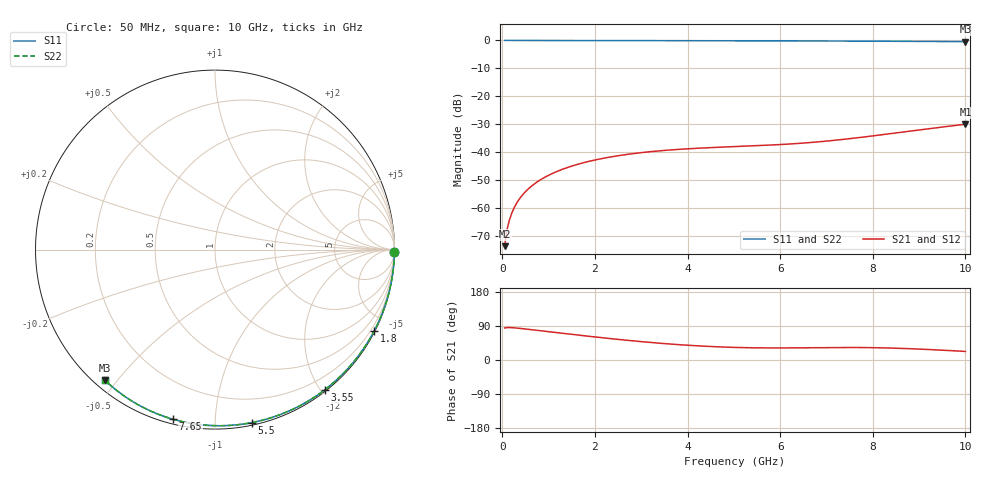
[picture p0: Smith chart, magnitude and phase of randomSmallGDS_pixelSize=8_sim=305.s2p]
! freq	dB(S11)	phase(S11)	dB(S12)	phase(S12)
!  dB(S21)	phase(S21)	dB(S22)	phase(S22)
!S-par simulation data
#  GHz  S  DB  R 50
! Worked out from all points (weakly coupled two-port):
!   200 points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, 50 MHz to 10 GHz, reference 50 ohm
!   highest |S21| = -30.00 dB at 10 GHz (marker M1); lowest = -73.7 dB at 50 MHz (marker M2)
!   lowest |S11| = -0.4 dB at 10 GHz (marker M3), VSWR 40.34, Z = 1.51 - j23.2 ohm
!   |S11| at or under -10 dB: nowhere
!   |S22| runs from -0.4 to 0.0 dB; largest |S21 - S12| = 0
!   S11 on the Smith chart (normalised r, x): 50 MHz: open; 1.8 GHz: 0.04, -4.17; 3.55 GHz: 0.02, -2.05; 5.5 GHz: 0.02, -1.24; 7.65 GHz: 0.02, -0.78; 10 GHz: 0.03, -0.46
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0.05  -0.00 -0.8  -73.69 84.5  -73.69 84.5  -0.00 -0.8
0.1  -0.00 -1.5  -67.97 85.5  -67.97 85.5  -0.00 -1.5
0.15  -0.00 -2.3  -64.52 85.6  -64.52 85.6  -0.00 -2.3
0.2  -0.00 -3.1  -62.06 85.4  -62.06 85.4  -0.00 -3.1
0.25  -0.00 -3.8  -60.14 84.9  -60.14 84.9  -0.00 -3.8
0.35  -0.00 -5.3  -57.24 83.8  -57.24 83.8  -0.00 -5.3
0.5  -0.01 -7.6  -54.17 81.8  -54.17 81.8  -0.01 -7.6
0.7  -0.01 -10.6  -51.29 79.0  -51.29 79.0  -0.01 -10.6
1  -0.02 -15.1  -48.29 74.8  -48.29 74.8  -0.02 -15.1
1.35  -0.03 -20.3  -45.84 69.8  -45.84 69.8  -0.03 -20.3
1.75  -0.03 -26.2  -43.81 64.2  -43.81 64.2  -0.03 -26.3
1.8  -0.03 -27.0  -43.60 63.5  -43.60 63.5  -0.03 -27.0
2.5  -0.05 -37.2  -41.29 54.4  -41.29 54.4  -0.05 -37.2
3.4  -0.07 -49.9  -39.53 44.3  -39.53 44.3  -0.07 -49.9
3.55  -0.07 -52.0  -39.32 42.8  -39.32 42.8  -0.07 -52.0
4.3  -0.09 -62.2  -38.54 36.8  -38.54 36.8  -0.09 -62.2
5.05  -0.11 -72.1  -38.00 33.1  -38.00 33.1  -0.11 -72.1
5.5  -0.13 -77.8  -37.70 32.0  -37.70 32.0  -0.13 -77.9
6.7  -0.18 -92.7  -36.50 32.5  -36.50 32.5  -0.18 -92.7
7.65  -0.23 -103.9  -34.90 33.0  -34.90 33.0  -0.23 -103.9
8.35  -0.28 -111.9  -33.45 31.6  -33.45 31.6  -0.28 -111.9
10  -0.43 -130.1  -30.00 22.6  -30.00 22.6  -0.43 -130.2
